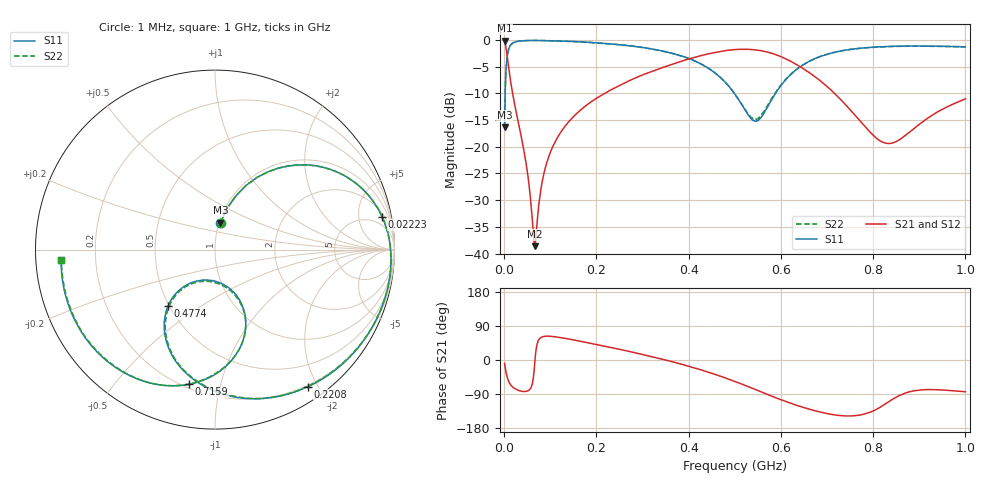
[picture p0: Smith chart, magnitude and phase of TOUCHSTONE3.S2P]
!Agilent Technologies,E5071C,MY46104870,A.11.22
!Date: Sun Jan 01 01:41:47 2017
!Data & Calibration Information:
!Freq	S11:SOLT2(ON)	S21:SOLT2(ON)	S12:SOLT2(ON)	S22:SOLT2(ON)
!PortZ  Port1:50+j0  Port2:50+j0
!Above PortZ is port z conversion or system Z0 setting when saving the data.
!When reading, reference impedance value at option line is always used.
# Hz S dB R 50
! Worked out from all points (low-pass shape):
!   1601 points, 1 MHz to 1 GHz, reference 50 ohm
!   highest |S21| = -0.17 dB at 1 MHz (marker M1); lowest = -38.6 dB at 65.94 MHz (marker M2)
!   |S21| within 3 dB of the highest: start of sweep to 6.551 MHz; 417.4 MHz to 600.6 MHz (183.3 MHz wide, 36 % of centre)
!   lowest |S11| = -16.4 dB at 1 MHz (marker M3), VSWR 1.36, Z = 50.7 + j15.5 ohm
!   |S11| at or under -10 dB: start of sweep to 2.197 MHz; 498.8 MHz to 588.5 MHz (89.75 MHz wide, 16.5 % of centre)
!   |S22| runs from -16.3 to -0.1 dB; largest |S21 - S12| = 0.0041
!   S11 on the Smith chart (normalised r, x): 1 MHz: 1.01, +0.31; 22.23 MHz: 3, +10; 220.8 MHz: 0.18, -1.87; 477.4 MHz: 0.49, -0.37; 715.9 MHz: 0.22, -0.80; 1 GHz: 0.08, -0.03
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1000000  -16.35 78.6  -0.17 -9.0  -0.17 -8.9  -16.27 78.3
8492500  -2.18 35.2  -4.46 -52.3  -4.46 -52.3  -2.18 35.3
1.411188e7  -0.97 21.5  -7.84 -65.5  -7.84 -65.5  -0.98 21.5
2.222875e7  -0.45 11.0  -11.83 -74.9  -11.83 -74.9  -0.45 11.1
4.782812e7  -0.15 -4.2  -23.30 -82.7  -23.32 -82.7  -0.15 -4.2
6.5935e7  -0.12 -11.1  -38.62 -14.0  -38.59 -14.2  -0.13 -11.1
6.968125e7  -0.12 -12.4  -36.12 30.8  -36.15 31.0  -0.12 -12.4
8.279312e7  -0.13 -16.6  -26.40 61.0  -26.44 61.2  -0.14 -16.6
9.84025e7  -0.16 -21.4  -21.45 62.7  -21.46 62.7  -0.17 -21.4
1.677081e8  -0.39 -41.1  -12.99 48.9  -13.01 48.9  -0.41 -40.6
2.2078e8  -0.70 -55.9  -9.92 35.6  -9.89 35.4  -0.71 -55.5
3.344162e8  -1.94 -88.2  -5.48 4.5  -5.47 4.8  -1.96 -87.7
4.162094e8  -4.08 -113.2  -3.20 -22.2  -3.21 -22.2  -4.07 -112.5
4.773981e8  -7.77 -129.8  -2.06 -46.4  -2.04 -46.4  -7.76 -128.8
5.005e8  -10.20 -131.6  -1.83 -56.7  -1.82 -56.8  -10.17 -130.4
5.492012e8  -15.16 -91.9  -1.94 -80.1  -1.94 -80.1  -14.78 -91.6
6.091412e8  -7.61 -65.9  -3.49 -109.0  -3.49 -109.0  -7.51 -66.3
6.672081e8  -3.78 -84.0  -6.48 -131.8  -6.52 -132.1  -3.78 -84.2
7.159094e8  -2.35 -100.8  -9.98 -144.8  -10.05 -144.5  -2.34 -101.0
8.339162e8  -1.25 -135.9  -19.42 -109.9  -19.36 -109.8  -1.27 -136.2
9.138362e8  -1.17 -156.1  -14.93 -78.3  -15.04 -78.8  -1.21 -155.8
1e9  -1.32 -176.1  -11.05 -83.9  -11.10 -83.9  -1.34 -176.3
